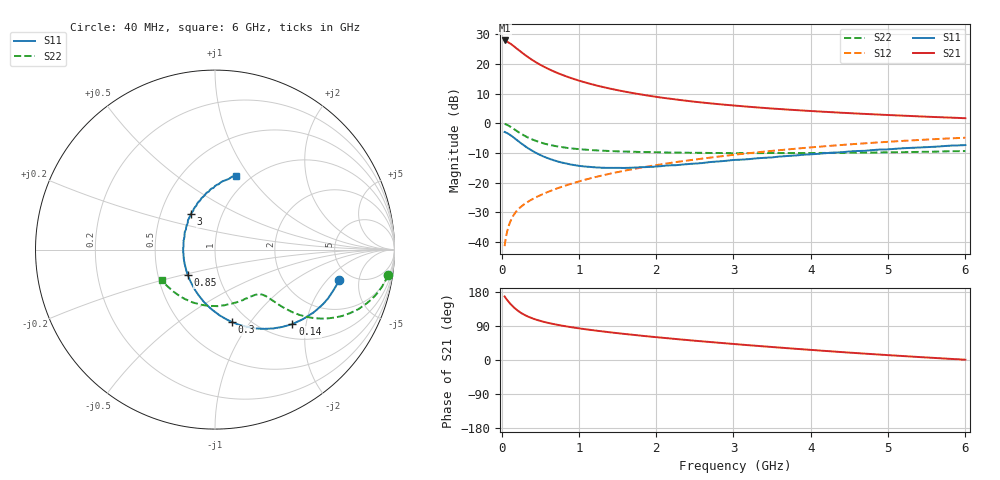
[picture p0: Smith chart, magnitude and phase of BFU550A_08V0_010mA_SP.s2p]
! Filename:  P:\Prog\Test\Noise\ATS_data\Testdata_Net\03 Spar\BFU550A_APG2013_35_C05_08p0V_010mA_SP_CM01_D.s2p
! Date/Time: Tue 16/Apr/2013 15:10:22
! BFU550A_APG2013_35_C05_08p0V_1to35mA_SP_CM01_Bias5_R.s2p
! MDIF S-parameter v. bias file
! BFU550A_APG2013_35_C05_08p0V_1to35mA_SP_CM01
! Date/time Mon Apr 15 16:50:27 2013
! VAR V_out= 8.0000
! VAR I_out= 9.9950
! VAR V_in= 0.8163
! VAR I_in= 0.1023
! Device data file deembeded for feedlines and parallel
! Original file: \03 Spar\BFU550A_APG2013_35_C05_08p0V_010mA_SP_CM01_R.s2p
! Feed-files: PR017V01_150413_Feed1.s2p, PR017V01_150413_Feed2.s2p
! Parallel-file: PR017V01_150413_Par.s2p
# MHz S MA R 50
!  Freq-MHz  S11-mag  S11-arg  S21-mag  S21-arg  S12-mag  S12-arg  S22-mag  S22-arg
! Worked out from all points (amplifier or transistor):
!   98 points, 40 MHz to 6 GHz, reference 50 ohm
!   highest |S21| = 27.9 dB at 40 MHz (marker M1)
!   |S21| within 3 dB of that: start of sweep to 210.6 MHz
!   unconditionally stable (mu >= 1): 1.375 GHz to 2.236 GHz
!   at 300 MHz: K = 0.61, MSG = 25.1 dB, |S12| = -27.2 dB
!   at 1.6 GHz: K = 1.01, MAG = 12.8 dB, |S12| = -15.9 dB
!   at 6 GHz: K = 0.91, MSG = 3.3 dB, |S12| = -4.9 dB
!   S11 on the Smith chart (normalised r, x): 40 MHz: 4.01, -2.73; 140 MHz: 1.30, -1.68; 300 MHz: 0.84, -0.82; 850 MHz: 0.71, -0.21; 3 GHz: 0.71, +0.30; 6 GHz: 0.86, +0.87
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40  0.7123 -13.6  24.76 167.7  0.008516 83.8  0.9742 -8.3
60  0.6941 -20.2  24.01 161.8  0.0126 80.3  0.9534 -12.5
90  0.6623 -29.7  22.85 154.1  0.01813 76.4  0.912 -17.9
120  0.6239 -38.5  21.66 147.0  0.0231 73.2  0.8652 -22.6
140  0.5985 -43.8  20.72 142.8  0.02605 71.4  0.8318 -25.2
180  0.5453 -53.7  18.84 135.2  0.03142 68.6  0.767 -29.6
220  0.4967 -62.3  17.17 128.8  0.03598 66.9  0.7093 -32.8
260  0.4524 -70.0  15.62 123.3  0.04009 65.8  0.6582 -35.2
300  0.4149 -76.8  14.26 118.8  0.0439 65.2  0.6147 -37.0
380  0.3541 -88.5  12.03 111.5  0.05097 64.8  0.5456 -39.2
440  0.32 -96.3  10.74 107.0  0.05617 65.0  0.5077 -40.0
500  0.2927 -103.3  9.664 103.3  0.06124 65.3  0.4773 -40.7
650  0.2441 -118.9  7.723 95.8  0.07399 66.2  0.4246 -41.5
850  0.208 -136.8  6.069 88.3  0.09131 67.2  0.3843 -42.5
1050  0.1888 -152.3  4.999 82.2  0.1091 67.6  0.362 -43.8
1500  0.1776 178.7  3.604 70.8  0.1503 66.8  0.3362 -48.8
2050  0.1889 153.6  2.723 59.3  0.2015 64.2  0.3234 -57.3
3000  0.2407 124.1  1.992 42.3  0.2935 57.6  0.3131 -76.0
3100  0.2438 121.6  1.941 40.6  0.3035 56.7  0.3139 -78.2
4100  0.3055 101.4  1.579 25.2  0.4014 47.7  0.316 -101.8
5200  0.3798 84.5  1.341 10.3  0.5056 36.2  0.3257 -129.1
6000  0.4281 74.0  1.214 0.8  0.5699 27.3  0.3397 -150.6
